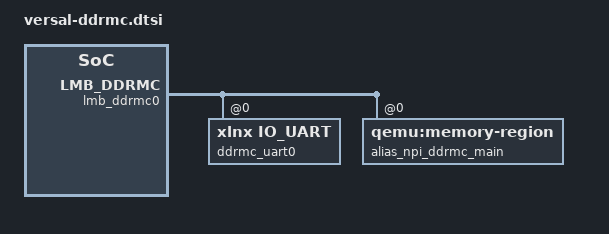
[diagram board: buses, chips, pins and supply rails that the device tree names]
/*
 * Versal DDRMC subsystem
 *
 * Copyright (c) 2018, Xilinx Inc.
 * All rights reserved.
 *
 * Redistribution and use in source and binary forms, with or without
 * modification, are permitted provided that the following conditions are met:
 *     * Redistributions of source code must retain the above copyright
 *       notice, this list of conditions and the following disclaimer.
 *     * Redistributions in binary form must reproduce the above copyright
 *       notice, this list of conditions and the following disclaimer in the
 *       documentation and/or other materials provided with the distribution.
 *     * Neither the name of the <organization> nor the
 *       names of its contributors may be used to endorse or promote products
 *       derived from this software without specific prior written permission.
 *
 * THIS SOFTWARE IS PROVIDED BY THE COPYRIGHT HOLDERS AND CONTRIBUTORS "AS IS" AND
 * ANY EXPRESS OR IMPLIED WARRANTIES, INCLUDING, BUT NOT LIMITED TO, THE IMPLIED
 * WARRANTIES OF MERCHANTABILITY AND FITNESS FOR A PARTICULAR PURPOSE ARE
 * DISCLAIMED. IN NO EVENT SHALL <COPYRIGHT HOLDER> BE LIABLE FOR ANY
 * DIRECT, INDIRECT, INCIDENTAL, SPECIAL, EXEMPLARY, OR CONSEQUENTIAL DAMAGES
 * (INCLUDING, BUT NOT LIMITED TO, PROCUREMENT OF SUBSTITUTE GOODS OR SERVICES;
 * LOSS OF USE, DATA, OR PROFITS; OR BUSINESS INTERRUPTION) HOWEVER CAUSED AND
 * ON ANY THEORY OF LIABILITY, WHETHER IN CONTRACT, STRICT LIABILITY, OR TORT
 * (INCLUDING NEGLIGENCE OR OTHERWISE) ARISING IN ANY WAY OUT OF THE USE OF THIS
 * SOFTWARE, EVEN IF ADVISED OF THE POSSIBILITY OF SUCH DAMAGE.
 */

#include "versal.dtsh"

#define CREATE_DDRMC_IOMOD(X)						\
	ddrmc_ ## X ## _io_module: io-module@00 {			\
		doc-status = "complete";				\
		#address-cells = <2>;					\
		#size-cells = <1>;					\
		#priority-cells = <0>;					\
		compatible = "simple-bus";				\
		container = <&lmb_ddrmc ## X>;				\
		priority = <0xffffffff>;				\
									\
		ddrmc ## X ## _io_intc: ddrmc ## X ## _intc@0C {	\
			#interrupt-cells = <1>;				\
			compatible = "xlnx,io-intc-1.02.a", "xlnx,io_intc"; \
			interrupt-controller ;				\
			interrupts-extended = <&ddrmc_ub ## X 0>;	\
			reg = <0x0 MM_DDRMC_IOM(0C) 0x4 0x0 MM_DDRMC_IOM(30) 0x10 0x0 MM_DDRMC_IOM(80) 0x7C>; \
			xlnx,intc-addr-width = <0x20>;			\
			xlnx,intc-base-vectors = <0x0>;			\
			xlnx,intc-has-fast = <0x0>;			\
			xlnx,intc-intr-size = <0x10>;			\
			xlnx,intc-level-edge = <0x0>;			\
			xlnx,intc-positive = <0xffff>;			\
			xlnx,intc-use-ext-intr = <0x1>;			\
		};							\
		ddrmc ## X ## _io_gpo1: ddrmc ## X ## _gpo@10 {		\
			#gpio-cells = <1>;				\
			gpio-controller;				\
			compatible = "xlnx,io-gpo-1.02.a", "xlnx,io_gpo"; \
			reg = <0x0 MM_DDRMC_IOM(10) 0x4>;			\
			xlnx,gpo-init = <0x0>;				\
			xlnx,gpo-size = <0x3>;				\
			xlnx,use-gpo = <0x1>;				\
		};							\
		ddrmc ## X ## _io_pit1: ddrmc ## X ## _pit@40 {		\
			compatible = "xlnx,io-pit-1.02.a", "xlnx,io_pit"; \
			interrupt-parent = <&ddrmc ## X ## _io_intc>;	\
			interrupts = <3>;				\
			reg = <0x0 MM_DDRMC_IOM(40) 0xc>;			\
			xlnx,pit-interrupt = <0x1>;			\
			xlnx,pit-prescaler = <0x9>;			\
			xlnx,pit-readable = <0x1>;			\
			xlnx,pit-size = <0x20>;				\
			xlnx,use-pit = <0x1>;				\
			frequency = <460000000>;			\
			gpios = <&ddrmc ## X ## _io_gpo1 1 &ddrmc ## X ## _io_pit2 0>; \
			gpio-names = "ps_config","ps_hit_in";		\
			gpio-controller;				\
			#gpio-cells = <1>;				\
		};							\
		ddrmc ## X ## _io_pit2: ddrmc ## X ## _pit@50 {		\
			compatible = "xlnx,io-pit-1.02.a", "xlnx,io_pit"; \
			interrupt-parent = <&ddrmc ## X ## _io_intc>;	\
			interrupts = <4>;				\
			reg = <0x0 MM_DDRMC_IOM(50) 0xc>;			\
			xlnx,pit-interrupt = <0x1>;			\
			xlnx,pit-prescaler = <0x9>;			\
			xlnx,pit-readable = <0x1>;			\
			xlnx,pit-size = <0x20>;				\
			xlnx,use-pit = <0x1>;				\
			frequency = <460000000>;			\
			gpio-controller;				\
			#gpio-cells = <1>;				\
		};							\
		ddrmc ## X ## _io_pit3: ddrmc ## X ## _pit@60 {		\
			compatible = "xlnx,io-pit-1.02.a", "xlnx,io_pit"; \
			interrupt-parent = <&ddrmc ## X ## _io_intc>;	\
			interrupts = <5>;				\
			reg = <0x0 MM_DDRMC_IOM(60) 0xc>;			\
			xlnx,pit-interrupt = <0x1>;			\
			xlnx,pit-prescaler = <0x9>;			\
			xlnx,pit-readable = <0x1>;			\
			xlnx,pit-size = <0x20>;				\
			xlnx,use-pit = <0x1>;				\
			frequency = <460000000>;			\
			gpios = <&ddrmc ## X ## _io_gpo1 6 &ddrmc ## X ## _io_pit4 0>; \
			gpio-names = "ps_config","ps_hit_in";		\
			gpio-controller;				\
			#gpio-cells = <1>;				\
		};							\
		ddrmc ## X ## _io_pit4: ddrmc ## X ## _pit@70 {		\
			compatible = "xlnx,io-pit-1.02.a", "xlnx,io_pit"; \
			interrupt-parent = <&ddrmc ## X ## _io_intc>;	\
			interrupts = <6>;				\
			reg = <0x0 MM_DDRMC_IOM(70) 0xc>;			\
			xlnx,pit-interrupt = <0x1>;			\
			xlnx,pit-prescaler = <0x9>;			\
			xlnx,pit-readable = <0x1>;			\
			xlnx,pit-size = <0x20>;				\
			xlnx,use-pit = <0x1>;				\
			frequency = <460000000>;			\
			gpio-controller;				\
			#gpio-cells = <1>;				\
		};							\
	}

&lmb_ddrmc0 {
	doc-name = "LMB DDRMC0";
	doc-status = "partial";

	CREATE_DDRMC_IOMOD(0);

	ddrmc_uart0: ddrmc_uart0@0 {
		compatible = "xlnx,io_uart";
		reg = <0x0 MM_DDRMC_IOM(00) 0xC MM_DDRMC_IOM(4c) 0x4>;
		xlnx,use-uart-rx = <0x1>;
		xlnx,use-uart-tx = <0x1>;
		chardev = "ddrmc-uart0", "serial1";
	};

	alias_npi_ddrmc_main {
		compatible = "qemu:memory-region";
		alias = <&npi_ddrmc_main0>;
		reg = <0x0 MM_DDRMC_NPI_MAIN 0x0 MM_DDRMC_NPI_MAIN_SIZE 0x0>;
	};
};
